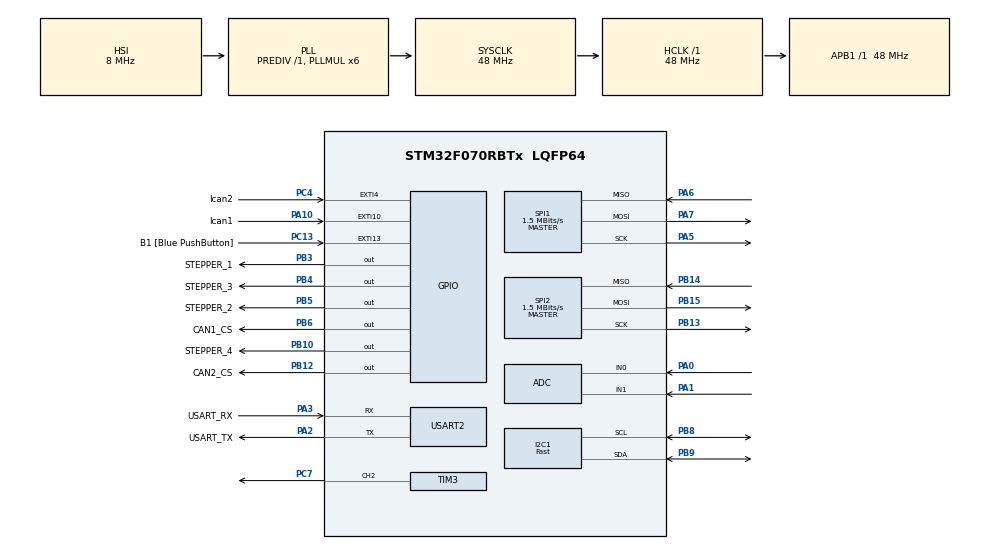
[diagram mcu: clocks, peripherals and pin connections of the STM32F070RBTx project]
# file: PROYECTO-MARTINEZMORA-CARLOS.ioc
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ADC.DiscontinuousConvMode=ENABLE
ADC.SamplingTime=ADC_SAMPLETIME_13CYCLES_5
FREERTOS.BinarySemaphores01=Adc_Sem,Dynamic,NULL;Tx_Sem,Dynamic,NULL;Can_tx_sem,Dynamic,NULL;Can_rx_sem,Dynamic,NULL
FREERTOS.Mutexes01=CanUart_mtx,Dynamic,NULL
FREERTOS.Queues01=lock_queue,5,lock_q,0,Dynamic,NULL,NULL;rx_queue,40,uint8_t,0,Dynamic,NULL,NULL;can_queue,5,uCAN_MSG,0,Dynamic,NULL,NULL
FREERTOS.Tasks01=defaultTask,8,64,StartDefaultTask,Default,NULL,Dynamic,NULL,NULL;OLED,8,192,oled_update,Default,NULL,Dynamic,NULL,NULL;ADC,8,64,adc_read,Default,NULL,Dynamic,NULL,NULL;SERVO,9,64,servo_pos,Default,NULL,Dynamic,NULL,NULL;STEPPER,8,64,stepper_fx,Default,NULL,Dynamic,NULL,NULL;UART_RX,8,128,receive,Default,NULL,Dynamic,NULL,NULL;LOCK,8,64,servo_lock,Default,NULL,Dynamic,NULL,NULL;UART_TX,8,64,transmit,Default,NULL,Dynamic,NULL,NULL;CAN_RX,8,128,can_receive,Default,NULL,Dynamic,NULL,NULL;CAN_TX,8,128,can_transmit,Default,NULL,Dynamic,NULL,NULL
FREERTOS.configMINIMAL_STACK_SIZE=64
FREERTOS.configTOTAL_HEAP_SIZE=7168
FREERTOS.configUSE_NEWLIB_REENTRANT=1
I2C1.I2C_Speed_Mode=I2C_Fast
I2C1.Timing=0x0000020B
Mcu.Family=STM32F0
Mcu.Name=STM32F070RBTx
Mcu.Package=LQFP64
NVIC.ADC1_IRQn=true\:3\:0\:false\:false\:true\:true\:true\:true\:true
NVIC.EXTI4_15_IRQn=true\:3\:0\:false\:false\:true\:true\:true\:true\:true
NVIC.TIM1_BRK_UP_TRG_COM_IRQn=true\:3\:0\:false\:false\:true\:false\:false\:true\:true
NVIC.TimeBase=TIM1_BRK_UP_TRG_COM_IRQn
NVIC.TimeBaseIP=TIM1
NVIC.USART2_IRQn=true\:3\:0\:false\:false\:true\:true\:true\:true\:true
PA0.Mode=IN0
PA0.Signal=ADC_IN0
PA1.Mode=IN1
PA1.Signal=ADC_IN1
PA10.GPIO_Label=Ican1
PA10.GPIO_ModeDefaultEXTI=GPIO_MODE_IT_FALLING
PA10.Signal=GPXTI10
PA13.GPIO_Label=TMS
PA13.Mode=Serial_Wire
PA13.Signal=SYS_SWDIO
PA14.GPIO_Label=TCK
PA14.Mode=Serial_Wire
PA14.Signal=SYS_SWCLK
PA2.GPIO_Label=USART_TX
PA2.Mode=Asynchronous
PA2.Signal=USART2_TX
PA3.GPIO_Label=USART_RX
PA3.Mode=Asynchronous
PA3.Signal=USART2_RX
PA5.Mode=Full_Duplex_Master
PA5.Signal=SPI1_SCK
PA6.Mode=Full_Duplex_Master
PA6.Signal=SPI1_MISO
PA7.Mode=Full_Duplex_Master
PA7.Signal=SPI1_MOSI
PB10.GPIO_Label=STEPPER_4
PB10.Signal=GPIO_Output
PB12.GPIO_Label=CAN2_CS
PB12.Signal=GPIO_Output
PB13.Mode=Full_Duplex_Master
PB13.Signal=SPI2_SCK
PB14.Mode=Full_Duplex_Master
PB14.Signal=SPI2_MISO
PB15.Mode=Full_Duplex_Master
PB15.Signal=SPI2_MOSI
PB3.GPIO_Label=STEPPER_1
PB3.Signal=GPIO_Output
PB4.GPIO_Label=STEPPER_3
PB4.Signal=GPIO_Output
PB5.GPIO_Label=STEPPER_2
PB5.Signal=GPIO_Output
PB6.GPIO_Label=CAN1_CS
PB6.Signal=GPIO_Output
PB8.Mode=I2C
PB8.Signal=I2C1_SCL
PB9.Mode=I2C
PB9.Signal=I2C1_SDA
PC13.GPIO_Label=B1 [Blue PushButton]
PC13.GPIO_ModeDefaultEXTI=GPIO_MODE_IT_FALLING
PC13.Signal=GPXTI13
PC14-OSC32_IN.GPIO_Label=RCC_OSC32_IN
PC14-OSC32_IN.Mode=LSE-External-Oscillator
PC14-OSC32_IN.Signal=RCC_OSC32_IN
PC15-OSC32_OUT.GPIO_Label=RCC_OSC32_OUT
PC15-OSC32_OUT.Mode=LSE-External-Oscillator
PC15-OSC32_OUT.Signal=RCC_OSC32_OUT
PC4.GPIO_Label=Ican2
PC4.GPIO_ModeDefaultEXTI=GPIO_MODE_IT_FALLING
PC4.Signal=GPXTI4
PC7.Signal=S_TIM3_CH2
PF0-OSC_IN.GPIO_Label=RCC_OSC_IN
PF0-OSC_IN.Mode=HSE-External-Clock-Source
PF0-OSC_IN.Signal=RCC_OSC_IN
PF1-OSC_OUT.GPIO_Label=RCC_OSC_OUT
PF1-OSC_OUT.Signal=RCC_OSC_OUT
ProjectManager.HeapSize=0x200
ProjectManager.StackSize=0x400
ProjectManager.TargetToolchain=STM32CubeIDE
RCC.AHBFreq_Value=48000000
RCC.APB1Freq_Value=48000000
RCC.APB1TimFreq_Value=48000000
RCC.HCLKFreq_Value=48000000
RCC.PLLMUL=RCC_PLL_MUL6
RCC.SYSCLKFreq_VALUE=48000000
RCC.SYSCLKSource=RCC_SYSCLKSOURCE_PLLCLK
SH.S_TIM3_CH2.0=TIM3_CH2,PWM Generation2 CH2
SPI1.BaudRatePrescaler=SPI_BAUDRATEPRESCALER_32
SPI1.CalculateBaudRate=1.5 MBits/s
SPI1.DataSize=SPI_DATASIZE_8BIT
SPI1.Direction=SPI_DIRECTION_2LINES
SPI1.Mode=SPI_MODE_MASTER
SPI1.NSSPMode=SPI_NSS_PULSE_DISABLE
SPI1.VirtualType=VM_MASTER
SPI2.BaudRatePrescaler=SPI_BAUDRATEPRESCALER_32
SPI2.CalculateBaudRate=1.5 MBits/s
SPI2.DataSize=SPI_DATASIZE_8BIT
SPI2.Direction=SPI_DIRECTION_2LINES
SPI2.Mode=SPI_MODE_MASTER
SPI2.NSSPMode=SPI_NSS_PULSE_DISABLE
SPI2.VirtualType=VM_MASTER
TIM3.Channel-PWM\ Generation2\ CH2=TIM_CHANNEL_2
TIM3.Period=2000-1
TIM3.Prescaler=480-1
USART2.VirtualMode-Asynchronous=VM_ASYNC
VP_FREERTOS_VS_CMSIS_V2.Mode=CMSIS_V2
VP_SYS_VS_tim1.Mode=TIM1
VP_TIM3_VS_ClockSourceINT.Mode=Internal
board=NUCLEO-F070RB

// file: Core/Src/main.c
/* USER CODE BEGIN Header */
/**
  ******************************************************************************
  * @file           : main.c
  * @brief          : Main program body
  ******************************************************************************
  * @attention
  *
  * Copyright (c) 2022 STMicroelectronics.
  * All rights reserved.
  *
  * This software is licensed under terms that can be found in the LICENSE file
  * in the root directory of this software component.
  * If no LICENSE file comes with this software, it is provided AS-IS.
  *
  ******************************************************************************
  */
/* USER CODE END Header */
#include "main.h"
#include "cmsis_os.h"

/* USER CODE BEGIN Includes */
#include "u8g2.h"
#include "ICI2022.h"
#include <stdbool.h>
#include <stdio.h>
#include <stdlib.h>
#include "CANSPI.h"
#include <string.h>

/* USER CODE END Includes */

/* USER CODE BEGIN PD */
#define CAN1 &hspi1
#define CAN2 &hspi2
/* SOY A */

#define ORDENO_A	0x22		// A ordena a B enviar datos
#define ENVIO_A		0x15		// A envia datos a B
#define ME_ORDENA	0x22		// B ordena a A enviar datos
#define ME_ENVIA	0x15		// B envia datos a A

/* SOY B */

//#define ORDENO_A	0x11		// B ordena a A enviar datos
//#define ENVIO_A		0x25		// B envia datos a A
//#define ME_ORDENA	0x22		// A ordena a B enviar datos
//#define ME_ENVIA	0x15		// A envia datos a B

/* USER CODE END PD */

ADC_HandleTypeDef hadc;

I2C_HandleTypeDef hi2c1;

SPI_HandleTypeDef hspi1;
SPI_HandleTypeDef hspi2;

TIM_HandleTypeDef htim3;

UART_HandleTypeDef huart2;

/* Definitions for defaultTask */
osThreadId_t defaultTaskHandle;
const osThreadAttr_t defaultTask_attributes = {
  .name = "defaultTask",
  .stack_size = 64 * 4,
  .priority = (osPriority_t) osPriorityLow,
};
/* Definitions for OLED */
osThreadId_t OLEDHandle;
const osThreadAttr_t OLED_attributes = {
  .name = "OLED",
  .stack_size = 192 * 4,
  .priority = (osPriority_t) osPriorityLow,
};
/* Definitions for ADC */
osThreadId_t ADCHandle;
const osThreadAttr_t ADC_attributes = {
  .name = "ADC",
  .stack_size = 64 * 4,
  .priority = (osPriority_t) osPriorityLow,
};
/* Definitions for SERVO */
osThreadId_t SERVOHandle;
const osThreadAttr_t SERVO_attributes = {
  .name = "SERVO",
  .stack_size = 64 * 4,
  .priority = (osPriority_t) osPriorityLow1,
};
/* Definitions for STEPPER */
osThreadId_t STEPPERHandle;
const osThreadAttr_t STEPPER_attributes = {
  .name = "STEPPER",
  .stack_size = 64 * 4,
  .priority = (osPriority_t) osPriorityLow,
};
/* Definitions for UART_RX */
osThreadId_t UART_RXHandle;
const osThreadAttr_t UART_RX_attributes = {
  .name = "UART_RX",
  .stack_size = 128 * 4,
  .priority = (osPriority_t) osPriorityLow,
};
/* Definitions for LOCK */
osThreadId_t LOCKHandle;
const osThreadAttr_t LOCK_attributes = {
  .name = "LOCK",
  .stack_size = 64 * 4,
  .priority = (osPriority_t) osPriorityLow,
};
/* Definitions for UART_TX */
osThreadId_t UART_TXHandle;
const osThreadAttr_t UART_TX_attributes = {
  .name = "UART_TX",
  .stack_size = 64 * 4,
  .priority = (osPriority_t) osPriorityLow,
};
/* Definitions for CAN_RX */
osThreadId_t CAN_RXHandle;
const osThreadAttr_t CAN_RX_attributes = {
  .name = "CAN_RX",
  .stack_size = 128 * 4,
  .priority = (osPriority_t) osPriorityLow,
};
/* Definitions for CAN_TX */
osThreadId_t CAN_TXHandle;
const osThreadAttr_t CAN_TX_attributes = {
  .name = "CAN_TX",
  .stack_size = 128 * 4,
  .priority = (osPriority_t) osPriorityLow,
};
/* Definitions for lock_queue */
osMessageQueueId_t lock_queueHandle;
const osMessageQueueAttr_t lock_queue_attributes = {
  .name = "lock_queue"
};
/* Definitions for rx_queue */
osMessageQueueId_t rx_queueHandle;
const osMessageQueueAttr_t rx_queue_attributes = {
  .name = "rx_queue"
};
/* Definitions for can_queue */
osMessageQueueId_t can_queueHandle;
const osMessageQueueAttr_t can_queue_attributes = {
  .name = "can_queue"
};
/* Definitions for CanUart_mtx */
osMutexId_t CanUart_mtxHandle;
const osMutexAttr_t CanUart_mtx_attributes = {
  .name = "CanUart_mtx"
};
/* Definitions for Adc_Sem */
osSemaphoreId_t Adc_SemHandle;
const osSemaphoreAttr_t Adc_Sem_attributes = {
  .name = "Adc_Sem"
};
/* Definitions for Tx_Sem */
osSemaphoreId_t Tx_SemHandle;
const osSemaphoreAttr_t Tx_Sem_attributes = {
  .name = "Tx_Sem"
};
/* Definitions for Can_tx_sem */
osSemaphoreId_t Can_tx_semHandle;
const osSemaphoreAttr_t Can_tx_sem_attributes = {
  .name = "Can_tx_sem"
};
/* Definitions for Can_rx_sem */
osSemaphoreId_t Can_rx_semHandle;
const osSemaphoreAttr_t Can_rx_sem_attributes = {
  .name = "Can_rx_sem"
};
/* USER CODE BEGIN PV */
static adc_q adc_value = {0, 0, 0.0, 0.0, true};
static lock_q segvel_value;
static uint8_t buf[4];
static unsigned short periodo = 15;
static uint16_t periodo_temp = 100;
static enum giro giro_stepper;
u8g2_t u8g2;
static bool can_ok = false;
static bool datos_rmt = false;
static uint8_t temp_rmt_ent;
static uint8_t temp_rmt_dec;
static uint8_t servo_rmt;
static uint8_t rpm_rmt_ent;
static uint8_t rpm_rmt_dec;
static bool flag_monitorizacion = false;
/* USER CODE END PV */

void SystemClock_Config(void);
static void MX_GPIO_Init(void);
static void MX_USART2_UART_Init(void);
static void MX_ADC_Init(void);
static void MX_I2C1_Init(void);
static void MX_TIM3_Init(void);
static void MX_SPI1_Init(void);
static void MX_SPI2_Init(void);
void StartDefaultTask(void *argument);
void oled_update(void *argument);
void adc_read(void *argument);
void servo_pos(void *argument);
void stepper_fx(void *argument);
void receive(void *argument);
void servo_lock(void *argument);
void transmit(void *argument);
void can_receive(void *argument);
void can_transmit(void *argument);

int main(void)
{

  /* MCU Configuration--------------------------------------------------------*/

  /* Reset of all peripherals, Initializes the Flash interface and the Systick. */
  HAL_Init();

  /* Configure the system clock */
  SystemClock_Config();

  /* Initialize all configured peripherals */
  MX_GPIO_Init();
  MX_USART2_UART_Init();
  MX_ADC_Init();
  MX_I2C1_Init();
  MX_TIM3_Init();
  MX_SPI1_Init();
  MX_SPI2_Init();
  /* USER CODE BEGIN 2 */
  ICI2022_Init(&hi2c1, &huart2);
  calc_rpm();
  calc_periodos();
  if(CANSPI_Initialize(CAN1))
  {
  if(CANSPI_Initialize(CAN2)) can_ok = true;
  }

  /* USER CODE END 2 */

  /* Init scheduler */
  osKernelInitialize();
  /* Create the mutex(es) */
  /* creation of CanUart_mtx */
  CanUart_mtxHandle = osMutexNew(&CanUart_mtx_attributes);

  /* Create the semaphores(s) */
  /* creation of Adc_Sem */
  Adc_SemHandle = osSemaphoreNew(1, 1, &Adc_Sem_attributes);

  /* creation of Tx_Sem */
  Tx_SemHandle = osSemaphoreNew(1, 1, &Tx_Sem_attributes);

  /* creation of Can_tx_sem */
  Can_tx_semHandle = osSemaphoreNew(1, 1, &Can_tx_sem_attributes);

  /* creation of Can_rx_sem */
  Can_rx_semHandle = osSemaphoreNew(1, 1, &Can_rx_sem_attributes);

  /* USER CODE BEGIN RTOS_SEMAPHORES */
  /* add semaphores, ... */
//  Rx_SemHandle = osSemaphoreNew(1, 0, &Rx_Sem_attributes);
  Can_rx_semHandle = osSemaphoreNew(1, 0, &Can_rx_sem_attributes);

  /* USER CODE END RTOS_SEMAPHORES */

  /* Create the queue(s) */
  /* creation of lock_queue */
  lock_queueHandle = osMessageQueueNew (5, sizeof(lock_q), &lock_queue_attributes);

  /* creation of rx_queue */
  rx_queueHandle = osMessageQueueNew (40, sizeof(uint8_t), &rx_queue_attributes);

  /* creation of can_queue */
  can_queueHandle = osMessageQueueNew (5, sizeof(uCAN_MSG), &can_queue_attributes);

  /* Create the thread(s) */
  /* creation of defaultTask */
  defaultTaskHandle = osThreadNew(StartDefaultTask, NULL, &defaultTask_attributes);

  /* creation of OLED */
  OLEDHandle = osThreadNew(oled_update, NULL, &OLED_attributes);

  /* creation of ADC */
  ADCHandle = osThreadNew(adc_read, NULL, &ADC_attributes);

  /* creation of SERVO */
  SERVOHandle = osThreadNew(servo_pos, NULL, &SERVO_attributes);

  /* creation of STEPPER */
  STEPPERHandle = osThreadNew(stepper_fx, NULL, &STEPPER_attributes);

  /* creation of UART_RX */
  UART_RXHandle = osThreadNew(receive, NULL, &UART_RX_attributes);

  /* creation of LOCK */
  LOCKHandle = osThreadNew(servo_lock, NULL, &LOCK_attributes);

  /* creation of UART_TX */
  UART_TXHandle = osThreadNew(transmit, NULL, &UART_TX_attributes);

  /* creation of CAN_RX */
  CAN_RXHandle = osThreadNew(can_receive, NULL, &CAN_RX_attributes);

  /* creation of CAN_TX */
  CAN_TXHandle = osThreadNew(can_transmit, NULL, &CAN_TX_attributes);

  /* Start scheduler */
  osKernelStart();

  /* We should never get here as control is now taken by the scheduler */
  /* Infinite loop */
  while (1)
  {

  }
}

void SystemClock_Config(void)
{
  RCC_OscInitTypeDef RCC_OscInitStruct = {0};
  RCC_ClkInitTypeDef RCC_ClkInitStruct = {0};
  RCC_PeriphCLKInitTypeDef PeriphClkInit = {0};

  /** Initializes the RCC Oscillators according to the specified parameters
  * in the RCC_OscInitTypeDef structure.
  */
  RCC_OscInitStruct.OscillatorType = RCC_OSCILLATORTYPE_HSI|RCC_OSCILLATORTYPE_HSI14;
  RCC_OscInitStruct.HSIState = RCC_HSI_ON;
  RCC_OscInitStruct.HSI14State = RCC_HSI14_ON;
  RCC_OscInitStruct.HSICalibrationValue = RCC_HSICALIBRATION_DEFAULT;
  RCC_OscInitStruct.HSI14CalibrationValue = 16;
  RCC_OscInitStruct.PLL.PLLState = RCC_PLL_ON;
  RCC_OscInitStruct.PLL.PLLSource = RCC_PLLSOURCE_HSI;
  RCC_OscInitStruct.PLL.PLLMUL = RCC_PLL_MUL6;
  RCC_OscInitStruct.PLL.PREDIV = RCC_PREDIV_DIV1;
  if (HAL_RCC_OscConfig(&RCC_OscInitStruct) != HAL_OK)
  {
    Error_Handler();
  }

  /** Initializes the CPU, AHB and APB buses clocks
  */
  RCC_ClkInitStruct.ClockType = RCC_CLOCKTYPE_HCLK|RCC_CLOCKTYPE_SYSCLK
                              |RCC_CLOCKTYPE_PCLK1;
  RCC_ClkInitStruct.SYSCLKSource = RCC_SYSCLKSOURCE_PLLCLK;
  RCC_ClkInitStruct.AHBCLKDivider = RCC_SYSCLK_DIV1;
  RCC_ClkInitStruct.APB1CLKDivider = RCC_HCLK_DIV1;

  if (HAL_RCC_ClockConfig(&RCC_ClkInitStruct, FLASH_LATENCY_1) != HAL_OK)
  {
    Error_Handler();
  }
  PeriphClkInit.PeriphClockSelection = RCC_PERIPHCLK_I2C1;
  PeriphClkInit.I2c1ClockSelection = RCC_I2C1CLKSOURCE_HSI;
  if (HAL_RCCEx_PeriphCLKConfig(&PeriphClkInit) != HAL_OK)
  {
    Error_Handler();
  }
}

static void MX_ADC_Init(void)
{

  ADC_ChannelConfTypeDef sConfig = {0};

  /** Configure the global features of the ADC (Clock, Resolution, Data Alignment and number of conversion)
  */
  hadc.Instance = ADC1;
  hadc.Init.ClockPrescaler = ADC_CLOCK_ASYNC_DIV1;
  hadc.Init.Resolution = ADC_RESOLUTION_12B;
  hadc.Init.DataAlign = ADC_DATAALIGN_RIGHT;
  hadc.Init.ScanConvMode = ADC_SCAN_DIRECTION_FORWARD;
  hadc.Init.EOCSelection = ADC_EOC_SINGLE_CONV;
  hadc.Init.LowPowerAutoWait = DISABLE;
  hadc.Init.LowPowerAutoPowerOff = DISABLE;
  hadc.Init.ContinuousConvMode = DISABLE;
  hadc.Init.DiscontinuousConvMode = ENABLE;
  hadc.Init.ExternalTrigConv = ADC_SOFTWARE_START;
  hadc.Init.ExternalTrigConvEdge = ADC_EXTERNALTRIGCONVEDGE_NONE;
  hadc.Init.DMAContinuousRequests = DISABLE;
  hadc.Init.Overrun = ADC_OVR_DATA_PRESERVED;
  if (HAL_ADC_Init(&hadc) != HAL_OK)
  {
    Error_Handler();
  }

  /** Configure for the selected ADC regular channel to be converted.
  */
  sConfig.Channel = ADC_CHANNEL_0;
  sConfig.Rank = ADC_RANK_CHANNEL_NUMBER;
  sConfig.SamplingTime = ADC_SAMPLETIME_13CYCLES_5;
  if (HAL_ADC_ConfigChannel(&hadc, &sConfig) != HAL_OK)
  {
    Error_Handler();
  }

  /** Configure for the selected ADC regular channel to be converted.
  */
  sConfig.Channel = ADC_CHANNEL_1;
  if (HAL_ADC_ConfigChannel(&hadc, &sConfig) != HAL_OK)
  {
    Error_Handler();
  }

}

static void MX_I2C1_Init(void)
{

  hi2c1.Instance = I2C1;
  hi2c1.Init.Timing = 0x0000020B;
  hi2c1.Init.OwnAddress1 = 0;
  hi2c1.Init.AddressingMode = I2C_ADDRESSINGMODE_7BIT;
  hi2c1.Init.DualAddressMode = I2C_DUALADDRESS_DISABLE;
  hi2c1.Init.OwnAddress2 = 0;
  hi2c1.Init.OwnAddress2Masks = I2C_OA2_NOMASK;
  hi2c1.Init.GeneralCallMode = I2C_GENERALCALL_DISABLE;
  hi2c1.Init.NoStretchMode = I2C_NOSTRETCH_DISABLE;
  if (HAL_I2C_Init(&hi2c1) != HAL_OK)
  {
    Error_Handler();
  }

  /** Configure Analogue filter
  */
  if (HAL_I2CEx_ConfigAnalogFilter(&hi2c1, I2C_ANALOGFILTER_ENABLE) != HAL_OK)
  {
    Error_Handler();
  }

  /** Configure Digital filter
  */
  if (HAL_I2CEx_ConfigDigitalFilter(&hi2c1, 0) != HAL_OK)
  {
    Error_Handler();
  }

}

static void MX_SPI1_Init(void)
{

  /* SPI1 parameter configuration*/
  hspi1.Instance = SPI1;
  hspi1.Init.Mode = SPI_MODE_MASTER;
  hspi1.Init.Direction = SPI_DIRECTION_2LINES;
  hspi1.Init.DataSize = SPI_DATASIZE_8BIT;
  hspi1.Init.CLKPolarity = SPI_POLARITY_LOW;
  hspi1.Init.CLKPhase = SPI_PHASE_1EDGE;
  hspi1.Init.NSS = SPI_NSS_SOFT;
  hspi1.Init.BaudRatePrescaler = SPI_BAUDRATEPRESCALER_32;
  hspi1.Init.FirstBit = SPI_FIRSTBIT_MSB;
  hspi1.Init.TIMode = SPI_TIMODE_DISABLE;
  hspi1.Init.CRCCalculation = SPI_CRCCALCULATION_DISABLE;
  hspi1.Init.CRCPolynomial = 7;
  hspi1.Init.CRCLength = SPI_CRC_LENGTH_DATASIZE;
  hspi1.Init.NSSPMode = SPI_NSS_PULSE_DISABLE;
  if (HAL_SPI_Init(&hspi1) != HAL_OK)
  {
    Error_Handler();
  }

}

static void MX_SPI2_Init(void)
{

  /* SPI2 parameter configuration*/
  hspi2.Instance = SPI2;
  hspi2.Init.Mode = SPI_MODE_MASTER;
  hspi2.Init.Direction = SPI_DIRECTION_2LINES;
  hspi2.Init.DataSize = SPI_DATASIZE_8BIT;
  hspi2.Init.CLKPolarity = SPI_POLARITY_LOW;
  hspi2.Init.CLKPhase = SPI_PHASE_1EDGE;
  hspi2.Init.NSS = SPI_NSS_SOFT;
  hspi2.Init.BaudRatePrescaler = SPI_BAUDRATEPRESCALER_32;
  hspi2.Init.FirstBit = SPI_FIRSTBIT_MSB;
  hspi2.Init.TIMode = SPI_TIMODE_DISABLE;
  hspi2.Init.CRCCalculation = SPI_CRCCALCULATION_DISABLE;
  hspi2.Init.CRCPolynomial = 7;
  hspi2.Init.CRCLength = SPI_CRC_LENGTH_DATASIZE;
  hspi2.Init.NSSPMode = SPI_NSS_PULSE_DISABLE;
  if (HAL_SPI_Init(&hspi2) != HAL_OK)
  {
    Error_Handler();
  }

}

static void MX_TIM3_Init(void)
{

  TIM_ClockConfigTypeDef sClockSourceConfig = {0};
  TIM_MasterConfigTypeDef sMasterConfig = {0};
  TIM_OC_InitTypeDef sConfigOC = {0};

  htim3.Instance = TIM3;
  htim3.Init.Prescaler = 480-1;
  htim3.Init.CounterMode = TIM_COUNTERMODE_UP;
  htim3.Init.Period = 2000-1;
  htim3.Init.ClockDivision = TIM_CLOCKDIVISION_DIV1;
  htim3.Init.AutoReloadPreload = TIM_AUTORELOAD_PRELOAD_DISABLE;
  if (HAL_TIM_Base_Init(&htim3) != HAL_OK)
  {
    Error_Handler();
  }
  sClockSourceConfig.ClockSource = TIM_CLOCKSOURCE_INTERNAL;
  if (HAL_TIM_ConfigClockSource(&htim3, &sClockSourceConfig) != HAL_OK)
  {
    Error_Handler();
  }
  if (HAL_TIM_PWM_Init(&htim3) != HAL_OK)
  {
    Error_Handler();
  }
  sMasterConfig.MasterOutputTrigger = TIM_TRGO_RESET;
  sMasterConfig.MasterSlaveMode = TIM_MASTERSLAVEMODE_DISABLE;
  if (HAL_TIMEx_MasterConfigSynchronization(&htim3, &sMasterConfig) != HAL_OK)
  {
    Error_Handler();
  }
  sConfigOC.OCMode = TIM_OCMODE_PWM1;
  sConfigOC.Pulse = 0;
  sConfigOC.OCPolarity = TIM_OCPOLARITY_HIGH;
  sConfigOC.OCFastMode = TIM_OCFAST_DISABLE;
  if (HAL_TIM_PWM_ConfigChannel(&htim3, &sConfigOC, TIM_CHANNEL_2) != HAL_OK)
  {
    Error_Handler();
  }
  HAL_TIM_MspPostInit(&htim3);

}

static void MX_USART2_UART_Init(void)
{

  huart2.Instance = USART2;
  huart2.Init.BaudRate = 38400;
  huart2.Init.WordLength = UART_WORDLENGTH_8B;
  huart2.Init.StopBits = UART_STOPBITS_1;
  huart2.Init.Parity = UART_PARITY_NONE;
  huart2.Init.Mode = UART_MODE_TX_RX;
  huart2.Init.HwFlowCtl = UART_HWCONTROL_NONE;
  huart2.Init.OverSampling = UART_OVERSAMPLING_16;
  huart2.Init.OneBitSampling = UART_ONE_BIT_SAMPLE_DISABLE;
  huart2.AdvancedInit.AdvFeatureInit = UART_ADVFEATURE_NO_INIT;
  if (HAL_UART_Init(&huart2) != HAL_OK)
  {
    Error_Handler();
  }

}

static void MX_GPIO_Init(void)
{
  GPIO_InitTypeDef GPIO_InitStruct = {0};

  /* GPIO Ports Clock Enable */
  __HAL_RCC_GPIOC_CLK_ENABLE();
  __HAL_RCC_GPIOF_CLK_ENABLE();
  __HAL_RCC_GPIOA_CLK_ENABLE();
  __HAL_RCC_GPIOB_CLK_ENABLE();

  /*Configure GPIO pin Output Level */
  HAL_GPIO_WritePin(GPIOB, STEPPER_4_Pin|CAN2_CS_Pin|STEPPER_1_Pin|STEPPER_3_Pin
                          |STEPPER_2_Pin|CAN1_CS_Pin, GPIO_PIN_RESET);

  /*Configure GPIO pins : B1_Pin Ican2_Pin */
  GPIO_InitStruct.Pin = B1_Pin|Ican2_Pin;
  GPIO_InitStruct.Mode = GPIO_MODE_IT_FALLING;
  GPIO_InitStruct.Pull = GPIO_NOPULL;
  HAL_GPIO_Init(GPIOC, &GPIO_InitStruct);

  /*Configure GPIO pins : STEPPER_4_Pin CAN2_CS_Pin STEPPER_1_Pin STEPPER_3_Pin
                           STEPPER_2_Pin CAN1_CS_Pin */
  GPIO_InitStruct.Pin = STEPPER_4_Pin|CAN2_CS_Pin|STEPPER_1_Pin|STEPPER_3_Pin
                          |STEPPER_2_Pin|CAN1_CS_Pin;
  GPIO_InitStruct.Mode = GPIO_MODE_OUTPUT_PP;
  GPIO_InitStruct.Pull = GPIO_NOPULL;
  GPIO_InitStruct.Speed = GPIO_SPEED_FREQ_LOW;
  HAL_GPIO_Init(GPIOB, &GPIO_InitStruct);

  /*Configure GPIO pin : Ican1_Pin */
  GPIO_InitStruct.Pin = Ican1_Pin;
  GPIO_InitStruct.Mode = GPIO_MODE_IT_FALLING;
  GPIO_InitStruct.Pull = GPIO_NOPULL;
  HAL_GPIO_Init(Ican1_GPIO_Port, &GPIO_InitStruct);

  /* EXTI interrupt init*/
  HAL_NVIC_SetPriority(EXTI4_15_IRQn, 3, 0);
  HAL_NVIC_EnableIRQ(EXTI4_15_IRQn);

}

/* USER CODE BEGIN 4 */
void HAL_ADC_ConvCpltCallback(ADC_HandleTypeDef* hadc)
{
	if(adc_value.first_conv)
	{
		adc_value.adc_ch0 = HAL_ADC_GetValue(hadc);
		adc_value.temp = (adc_value.adc_ch0/4096.0) * 3.3;
		adc_value.temp = adc_value.temp/0.01;
		HAL_ADC_Start_IT(hadc);

	}
	else
	{
		adc_value.adc_ch1 = HAL_ADC_GetValue(hadc);
		adc_value.pot = (adc_value.adc_ch1/4096.0) * 3.3;
		osSemaphoreRelease(Adc_SemHandle);
		HAL_ADC_Stop_IT(hadc);
	}
	adc_value.first_conv = !adc_value.first_conv;

}
void HAL_UARTEx_RxEventCallback(UART_HandleTypeDef *huart, uint16_t Size)
{
	osMessageQueuePut(rx_queueHandle, buf, 0L, 0);
	HAL_UARTEx_ReceiveToIdle_IT(&huart2, (uint8_t *)buf, 4);
}

void HAL_UART_TxCpltCallback(UART_HandleTypeDef *huart)
{
	osSemaphoreRelease(Tx_SemHandle);
}

void HAL_GPIO_EXTI_Callback(uint16_t GPIO_Pin)
{
	if(GPIO_Pin == Ican1_Pin) osSemaphoreRelease(Can_tx_semHandle);

	if(GPIO_Pin == Ican2_Pin) osSemaphoreRelease(Can_rx_semHandle);
}
/* USER CODE END 4 */

void StartDefaultTask(void *argument)
{
  /* USER CODE BEGIN 5 */
  /* Infinite loop */
  for(;;)
  {
    osDelay(2000);
  }
  /* USER CODE END 5 */
}

void oled_update(void *argument)
{
  /* USER CODE BEGIN oled_update */
	static int needle_offset_x_left;
	static int needle_offset_y_left;
	static int needle_offset_x_right;
	static int needle_offset_y_right;
	static int right_offset = 68;
	static char temp[5];
	static char pos[5];
	static char speed[10];
	static needle left = {
			.small = 10,
			.big = 25,
			.center_x = 29,
			.center_y = 31,
			.start_x = 0,
			.start_y = 0,
			.end_x = 0,
			.end_y = 0,
			.angle = 45 };
	static needle right = {
			.small = 10,
			.big = 25,
			.center_x = 29 + 68,
			.center_y = 31,
			.start_x = 0,
			.start_y = 0,
			.end_x = 0,
			.end_y = 0,
			.angle = 45 };

	u8g2_Setup_ssd1306_i2c_128x64_noname_2(&u8g2, U8G2_R0, u8x8_byte_i2c, u8x8_stm32_gpio_and_delay);
	u8g2_SetI2CAddress(&u8g2, OLED_ADDR);	// 0x78
	u8g2_InitDisplay(&u8g2); // send init sequence to the display, display is in sleep mode after this,
	u8g2_SetPowerSave(&u8g2, 0); // wake up display
	u8g2_SetFont(&u8g2, u8g2_font_5x7_tr);
  /* Infinite loop */
	for(;;)
	{
		left.angle = map(__HAL_TIM_GET_COMPARE(&htim3, TIM_CHANNEL_2), 99, 199, 45, 270+45);
		right.angle = map(rpm[periodo-2], 0, 15, 45, 270+45);

		calc_needle(&left);
		calc_needle(&right);

		sprintf(temp, "%0.2f", adc_value.temp);
		sprintf(pos, "%li", map(__HAL_TIM_GET_COMPARE(&htim3,TIM_CHANNEL_2), 99, 199, 0, 90));
		sprintf(speed, "%0.2fRPM", rpm[periodo-2]);

		if((left.angle > 45 && left.angle < 135) || (left.angle > 225 && left.angle < 315))
		{
			needle_offset_x_left = 0;
			needle_offset_y_left = 1;
		}
		else
		{
			needle_offset_x_left = 1;
			needle_offset_y_left = 0;
		}
		if((right.angle > 45 && right.angle < 135) || (right.angle > 225 && right.angle < 315))
		{
			needle_offset_x_right = 0;
			needle_offset_y_right = 1;
		}
		else
		{
			needle_offset_x_right = 1;
			needle_offset_y_right = 0;
		}

		u8g2_FirstPage(&u8g2);
		do {

			// draw gauges & termometer
			u8g2_DrawBitmap(&u8g2, 0, 0, 64/8, 56, Left_Gauge);
			u8g2_DrawBitmap(&u8g2, 64, 0, 64/8, 56, Right_Gauge);
			u8g2_DrawBitmap(&u8g2, 60, 0, 8/8, 56, Termometer);

			// draw temperature
			u8g2_DrawLine(&u8g2, 64, 49, 64, 39-map(adc_value.adc_ch0, 0, 4096, 0, 49));
			u8g2_DrawStr(&u8g2, 52, 64, temp);

			// draw needle and center circle Left Gauge
			u8g2_DrawLine(&u8g2, left.start_x, left.start_y, left.end_x, left.end_y);
			u8g2_DrawLine(&u8g2, left.start_x + needle_offset_x_left, left.start_y + needle_offset_y_left,
								 left.end_x + needle_offset_x_left, left.end_y + needle_offset_y_left);
			u8g2_DrawStr(&u8g2, 26, 64, pos);

			u8g2_DrawBitmap(&u8g2, 26, 28, 8/8, 8, Contour_Needle);

			// draw needle and center circle Right Gauge
			u8g2_DrawLine(&u8g2, right.start_x, right.start_y, right.end_x, right.end_y);
			u8g2_DrawLine(&u8g2, right.start_x + needle_offset_x_right, right.start_y + needle_offset_y_right,
								 right.end_x + needle_offset_x_right, right.end_y + needle_offset_y_right);
			u8g2_DrawStr(&u8g2, 26 + right_offset, 64, speed);

			u8g2_DrawBitmap(&u8g2, 26 + right_offset, 28, 8/8, 8, Contour_Needle);

		} while (u8g2_NextPage(&u8g2));

		osDelay(250);
	}
  /* USER CODE END oled_update */
}

void adc_read(void *argument)
{
  /* USER CODE BEGIN adc_read */
	HAL_ADCEx_Calibration_Start(&hadc);
	/* Infinite loop */
	for(;;)
	{
		osSemaphoreAcquire(Adc_SemHandle, osWaitForever);
		HAL_ADC_Start_IT(&hadc);
		osDelay(10);
	}
  /* USER CODE END adc_read */
}

void servo_pos(void *argument)
{
  /* USER CODE BEGIN servo_pos */
	HAL_TIM_PWM_Start(&htim3, TIM_CHANNEL_2);
	/* Infinite loop */
	for(;;)
	{
		__HAL_TIM_SET_COMPARE(&htim3, TIM_CHANNEL_2, map(adc_value.adc_ch1, 0, 4095, 99, 199));
		osDelay(10);

	}
  /* USER CODE END servo_pos */
}

void stepper_fx(void *argument)
{
  /* USER CODE BEGIN stepper_fx */
int ciclo = 0;

/* Infinite loop */
for(;;)
{
	switch(giro_stepper)
	{
	case Horario:
	{
		for(int i = 0; i < 4; i++)
		{
			HAL_GPIO_WritePin(GPIOB, pins[i], matrix_half[ciclo][i]);		// Medios pasos, quitar _half para paso completo
		}
		ciclo++;
		//			if(ciclo > 3) ciclo = 0;											// Pasos completos
		if(ciclo > 7) ciclo = 0;											// Medios pasos
		break;
	}
	case Antihorario:
	{
		for(int i = 0; i < 4; i++)
		{
			HAL_GPIO_WritePin(GPIOB, pins[i], matrix_half[ciclo][i]);		// Medios pasos, quitar _half para paso completo
		}
		ciclo--;
		//			if(ciclo < 0) ciclo = 3;											// Pasos completos
		if(ciclo < 0) ciclo = 7;											// Medios pasos
		break;
	}
	default:
	{
		break;
	}
	}
	osDelay(periodo);
}
  /* USER CODE END stepper_fx */
}

void receive(void *argument)
{
  /* USER CODE BEGIN receive */
	static uint8_t angulo = 0;
	static uCAN_MSG PutTxQ;

	osThreadSuspend(OLEDHandle);
	osThreadSuspend(LOCKHandle);
	osThreadSuspend(SERVOHandle);
	osThreadSuspend(STEPPERHandle);
	u8g2_SetPowerSave(&u8g2, 1); // sleep display
	HAL_UARTEx_ReceiveToIdle_IT(&huart2, (uint8_t *)buf, 4);
	/* Infinite loop */
	for(;;)
	{

		osMessageQueueGet(rx_queueHandle, buf, 0l, osWaitForever);
		switch(buf[0])
		{
		case 'P':

			if(buf[3] != 0xE0) break;
			osThreadResume(SERVOHandle);
			osThreadSuspend(LOCKHandle);
			break;

		case 'S':

			if(buf[3] != 0xE0) break;
			osThreadSuspend(SERVOHandle);
			osThreadSuspend(LOCKHandle);
			angulo = map(buf[1], 0, 90, 99, 199);
			__HAL_TIM_SET_COMPARE(&htim3, TIM_CHANNEL_2, angulo);
			break;

		case 'A':

			if(buf[3] != 0xE0) break;
			osThreadSuspend(SERVOHandle);
			osThreadResume(LOCKHandle);

			segvel_value.espera = buf[1];

			segvel_value.velocidad = buf[2];
			if(segvel_value.velocidad == 0) segvel_value.velocidad++;

			segvel_value.espera = segvel_value.espera * 1000;
			segvel_value.velocidad = 1000/segvel_value.velocidad;
			osMessageQueuePut(lock_queueHandle, &segvel_value, 1, 0);
			break;

		case 'D':

			if(buf[3] != 0xE0) break;

			giro_stepper = Horario;
			break;

		case 'I':

			if(buf[3] != 0xE0) break;

			giro_stepper = Antihorario;
			break;

		case 'M':
			if(buf[3] != 0xE0) break;
			osThreadResume(STEPPERHandle);
			if(buf[1] == 0)
				{
				periodo = 15;
				osThreadSuspend(STEPPERHandle);
				break;
				}

			periodo = periodos[buf[1]-1];

			break;

		case 'X':

			if(buf[3] != 0xE0) break;

			osThreadResume(OLEDHandle);
			u8g2_SetPowerSave(&u8g2, 0); // wake up display
			break;

		case 'C':

			if(buf[3] != 0xE0) break;

			osThreadSuspend(OLEDHandle);
			osThreadSuspend(SERVOHandle);
			osThreadSuspend(LOCKHandle);
			osThreadSuspend(STEPPERHandle);
			flag_monitorizacion = false;

			u8g2_SetPowerSave(&u8g2, 1); // sleep display
			break;

		case 'T':

			if(buf[3] != 0xE0) break;

			periodo_temp = buf[1]*10;
			break;

		case 'R':
			if(buf[3] != 0xE0) break;

			//semaphore?
			PutTxQ.frame.idType = dSTANDARD_CAN_MSG_ID_2_0B;
			PutTxQ.frame.id = ORDENO_A;
			PutTxQ.frame.dlc = 8;

			PutTxQ.frame.data0 = 0;
			PutTxQ.frame.data1 = 0;
			PutTxQ.frame.data2 = 0;
			PutTxQ.frame.data3 = 0;
			PutTxQ.frame.data4 = 0;
			PutTxQ.frame.data5 = 0;
			PutTxQ.frame.data6 = 0;
			PutTxQ.frame.data7 = 0;

			osMessageQueuePut(can_queueHandle, &PutTxQ, 0U, 0U);

			break;

		default:
			break;
		}
	}
  /* USER CODE END receive */
}

void servo_lock(void *argument)
{
  /* USER CODE BEGIN servo_lock */
	enum maquina {
		Reposo, Abriendo, Espera, Cerrando
	} estados;
	estados = Reposo;

	static lock_q segvel_procesing;
	/* Infinite loop */
	for(;;)
	{
		switch(estados)
		{
		case Reposo:
			__HAL_TIM_SET_COMPARE(&htim3,TIM_CHANNEL_2, 99);
			osMessageQueueGet(lock_queueHandle, &segvel_procesing, (uint8_t *)1, osWaitForever);
			estados = Abriendo;
			break;
		case Abriendo:
			for(int i = 0; i<91; i++)
			{
				__HAL_TIM_SET_COMPARE(&htim3,TIM_CHANNEL_2, map(i, 0, 90, 99, 199));
				osDelay(segvel_procesing.velocidad);
			}
			estados = Espera;
			break;
		case Espera:
			osDelay(segvel_procesing.espera);
			estados = Cerrando;
			break;
		case Cerrando:
			for(int i = 90; i>=0; i--)
			{
				__HAL_TIM_SET_COMPARE(&htim3,TIM_CHANNEL_2, map(i, 0, 90, 99, 199));
				osDelay(segvel_procesing.velocidad);
			}
			estados = Reposo;
			if(osMessageQueueGetCount(lock_queueHandle) == 0) osThreadSuspend(LOCKHandle);
			break;
		default:
			break;

		}
		osDelay(1);
	}
  /* USER CODE END servo_lock */
}

void transmit(void *argument)
{
  /* USER CODE BEGIN transmit */

	// Declara una matriz de bytes y dos variables enteras sin signo de 32 bits como estáticas

	static uint8_t trama[4] = {0x00, 0x00, 0x00, 0xE0};
	static uint32_t timestamp1, timestamp2;
	static uCAN_MSG PutTxQ;

	// Inicializa "timestamp1" y "timestamp2" con el valor del tick actual del sistema

	timestamp1 = HAL_GetTick();
	timestamp2 = timestamp1;
	/* Infinite loop */
	for(;;)
	{

		/* Temperatura Local */
		// Construye una trama de datos con la temperatura y la envía a través de la interfaz UART

		if(HAL_GetTick() - timestamp1 >= periodo_temp)
		{
			trama[0] = 0x30;
			trama[1] = (uint8_t)adc_value.temp;
			trama[2] = (uint8_t)((adc_value.temp - trama[1])*100);
			HAL_UART_Transmit_IT(&huart2, trama, 4);

			// Bloquea el hilo hasta que se complete la transmisión

			osSemaphoreAcquire(Tx_SemHandle, osWaitForever);

			// Actualiza el valor de "timestamp1" con el tick actual del sistema

			timestamp1 = HAL_GetTick();
		}

		if(HAL_GetTick() - timestamp2 >= 500)
		{
			/* Posicion Servo Local */
			// Construye una trama de datos con la posición del servo local y la envía a través de la interfaz UART

			trama[0] = 0x20;
			trama[1] = map(__HAL_TIM_GET_COMPARE(&htim3,TIM_CHANNEL_2), 99, 199, 0, 90);
			trama[2] = 0xff;
			HAL_UART_Transmit_IT(&huart2, trama, 4);

			// Bloquea el hilo hasta que se complete la transmisión

			osSemaphoreAcquire(Tx_SemHandle, osWaitForever);

			/* Velocidad Motor Local */
			// Construye una trama de datos con la velocidad del motor local y la envía a través de la interfaz UART

			trama[0] = 0x40;
			trama[1] = rpm[periodo-2];
			trama[2] = 0xff;
			HAL_UART_Transmit_IT(&huart2, trama, 4);

			// Bloquea el hilo hasta que se complete la transmisión

			osSemaphoreAcquire(Tx_SemHandle, osWaitForever);

			if(flag_monitorizacion)
			{
				PutTxQ.frame.idType = dSTANDARD_CAN_MSG_ID_2_0B;
				PutTxQ.frame.id = ENVIO_A;
				PutTxQ.frame.dlc = 8;

				PutTxQ.frame.data0 = (uint8_t)adc_value.temp;
				PutTxQ.frame.data1 = (uint8_t)((adc_value.temp - PutTxQ.frame.data0)*100);
				PutTxQ.frame.data2 = map(__HAL_TIM_GET_COMPARE(&htim3,TIM_CHANNEL_2), 99, 199, 0, 90);
				PutTxQ.frame.data3 = (uint8_t)rpm[periodo-2];
				PutTxQ.frame.data4 = (uint8_t)((rpm[periodo-2] - PutTxQ.frame.data3)*100);
				PutTxQ.frame.data5 = 0x1;
				PutTxQ.frame.data6 = 0xC;
				PutTxQ.frame.data7 = 0x1;

				osMessageQueuePut(can_queueHandle, &PutTxQ, 0U, 0U);
			}

			// Actualiza el valor de "timestamp2" con el tick actual del sistema
			timestamp2 = HAL_GetTick();
		}

		if(datos_rmt)
		{
			// Adquiere el mutex "CanTx_mtxHandle" para proteger el acceso a los datos remotos de la posición del
			// servo, temperatura y velocidad del motor

			osMutexAcquire(CanUart_mtxHandle, osWaitForever);

			/* Posicion Servo Remota */
			// Construye una trama de datos con la posición del servo remoto y la envía a través de la interfaz UART

			trama[0] = 0x21;
			trama[1] = servo_rmt;
			trama[2] = 0xff;
			HAL_UART_Transmit_IT(&huart2, trama, 4);

			// Bloquea el hilo hasta que se complete la transmisión

			osSemaphoreAcquire(Tx_SemHandle, osWaitForever);

			/* Temperatura Remota */
			// Construye una trama de datos con la temperatura remota y la envía a través de la interfaz UART

			trama[0] = 0x31;
			trama[1] = temp_rmt_ent;
			trama[2] = temp_rmt_dec;
			HAL_UART_Transmit_IT(&huart2, trama, 4);

			// Bloquea el hilo hasta que se complete la transmisión

			osSemaphoreAcquire(Tx_SemHandle, osWaitForever);

			/* Velocidad Motor Remota */
			// Construye una trama de datos con la velocidad del motor remoto y la envía a través de la interfaz UART

			trama[0] = 0x41;
			trama[1] = rpm_rmt_ent;
			trama[2] = 0xff;
			HAL_UART_Transmit_IT(&huart2, trama, 4);

			// Bloquea el hilo hasta que se complete la transmisión

			osSemaphoreAcquire(Tx_SemHandle, osWaitForever);

			// Establece "datos_rmt" en falso y libera el mutex "CanUart_mtxHandle"

			datos_rmt = false;
			osMutexRelease(CanUart_mtxHandle);
		}

		// Retrasa el hilo durante 50 milisegundos
		osDelay(50);
	}
  /* USER CODE END transmit */
}

void can_receive(void *argument)
{
  /* USER CODE BEGIN can_receive */
	static uCAN_MSG RxCanmsg;
	//RxCanmsg.frame.idType = dSTANDARD_CAN_MSG_ID_2_0B;

	/* Infinite loop */
	for(;;)
	{
		osSemaphoreAcquire(Can_rx_semHandle, osWaitForever);
		if(CANSPI_Receive(CAN2, &RxCanmsg))
		{
			switch(RxCanmsg.frame.id)
			{
			case ME_ORDENA:

				if(RxCanmsg.frame.dlc != 8) break;
				if(RxCanmsg.frame.data0!=0 && RxCanmsg.frame.data1!=0 &&
						RxCanmsg.frame.data2!=0 && RxCanmsg.frame.data3!=0 &&
						RxCanmsg.frame.data4!=0 && RxCanmsg.frame.data5!=0 &&
						RxCanmsg.frame.data6!=0 && RxCanmsg.frame.data7!=0) break;
				flag_monitorizacion = true;

				break;
			case ME_ENVIA:

				if(RxCanmsg.frame.dlc != 8) break;
				if(RxCanmsg.frame.data5!=0x1 && RxCanmsg.frame.data6!=0xC &&
						RxCanmsg.frame.data7!=0x1) break;
				osMutexAcquire(CanUart_mtxHandle, osWaitForever);
				datos_rmt = true;
				temp_rmt_ent = RxCanmsg.frame.data0;
				temp_rmt_dec = RxCanmsg.frame.data1;
				servo_rmt = RxCanmsg.frame.data2;
				rpm_rmt_ent = RxCanmsg.frame.data3;
				rpm_rmt_dec = RxCanmsg.frame.data4;
				osMutexRelease(CanUart_mtxHandle);

				break;
			default:
				break;
			}
			CANSPI_CL_Flag_Int(CAN2);
		}
	}
  /* USER CODE END can_receive */
}

void can_transmit(void *argument)
{
  /* USER CODE BEGIN can_transmit */
	static uCAN_MSG TxCanmsg;

	/* Infinite loop */
	for(;;)
	{
		osSemaphoreAcquire(Can_tx_semHandle, osWaitForever);
		osMessageQueueGet(can_queueHandle, &TxCanmsg, 0U, osWaitForever);
		CANSPI_CL_Flag_Int(CAN1);
		CANSPI_Transmit(CAN1, &TxCanmsg);
	}
  /* USER CODE END can_transmit */
}

void HAL_TIM_PeriodElapsedCallback(TIM_HandleTypeDef *htim)
{
  if (htim->Instance == TIM1) {
    HAL_IncTick();
  }
}

void Error_Handler(void)
{
  __disable_irq();
  while (1)
  {
  }
}
